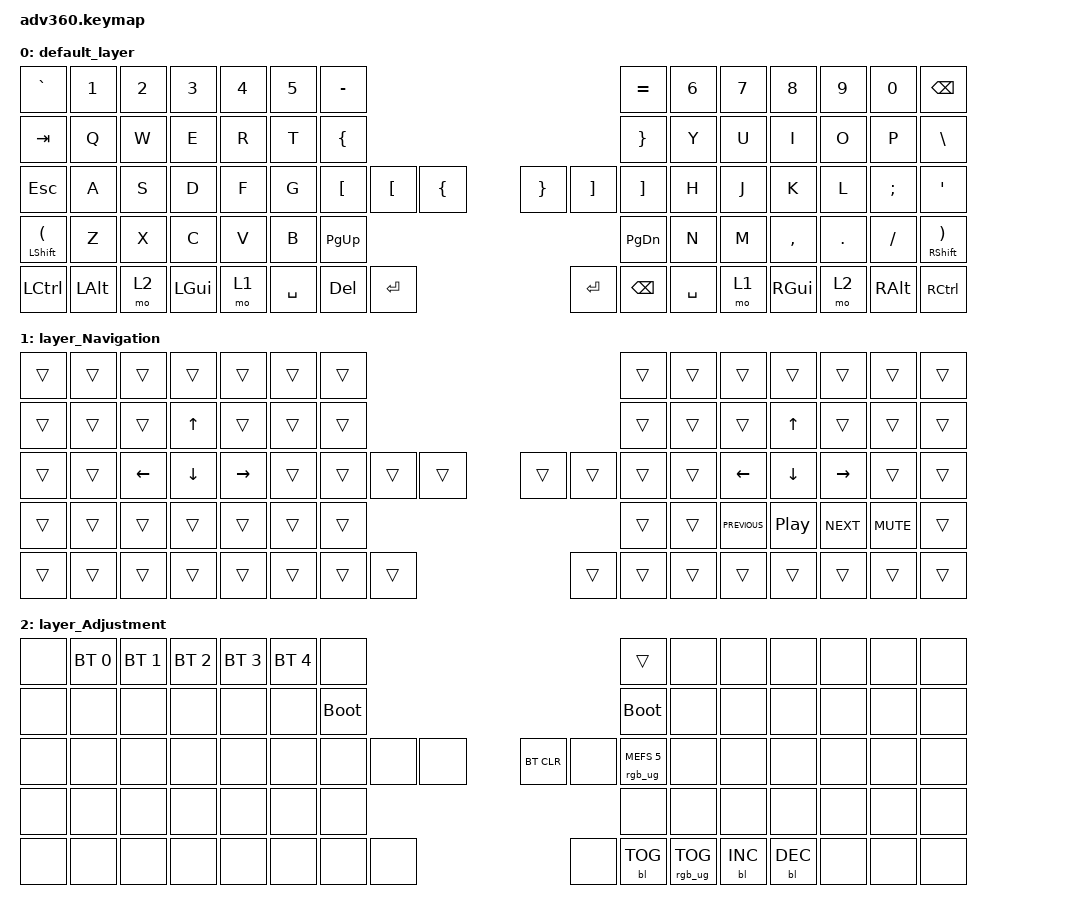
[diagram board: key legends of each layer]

/*
 * Copyright (c) 2020 The ZMK Contributors
 *
 * SPDX-License-Identifier: MIT
 */


/* THIS FILE WAS GENERATED!
 *
 * This file was generated automatically. You may or may not want to
 * edit it directly.
 */

#include <behaviors.dtsi>
#include <dt-bindings/zmk/keys.h>
#include <dt-bindings/zmk/bt.h>
#include <dt-bindings/zmk/rgb.h>
#include <dt-bindings/zmk/backlight.h>

/ {
  behaviors {
    #include "macros.dtsi"

    hm: homerow_mods {
        compatible = "zmk,behavior-hold-tap";
        label = "HOMEROW_MODS";
        #binding-cells = <2>;
        tapping-term-ms = <200>;
        quick_tap_ms = <175>;
        flavor = "tap-preferred";
        bindings = <&kp>, <&kp>;
    };
  };

    keymap {
        compatible = "zmk,keymap";


        default_layer {
            bindings = <
      &kp GRAVE        &kp N1  &kp N2        &kp N3  &kp N4  &kp N5                   &kp MINUS                                                                                                &kp EQUAL  &kp N6  &kp N7         &kp N8   &kp N9         &kp N0   &kp BACKSPACE
        &kp TAB         &kp Q   &kp W         &kp E   &kp R   &kp T              &kp LEFT_BRACE                                                                                          &kp RIGHT_BRACE   &kp Y   &kp U          &kp I    &kp O          &kp P        &kp BSLH
        &kp ESC         &kp A   &kp S         &kp D   &kp F   &kp G            &kp LEFT_BRACKET  &kp LEFT_BRACKET  &kp LEFT_BRACE                  &kp RIGHT_BRACE  &kp RIGHT_BRACKET  &kp RIGHT_BRACKET   &kp H   &kp J          &kp K    &kp L       &kp SEMI         &kp SQT
 &mt LSHFT LPAR         &kp Z   &kp X         &kp C   &kp V   &kp B                                                   &kp PAGE_UP                    &kp PAGE_DOWN                                         &kp N   &kp M      &kp COMMA  &kp DOT       &kp FSLH  &mt RSHFT RPAR
      &kp LCTRL  &kp LEFT_ALT   &mo 2  &kp LEFT_GUI   &mo 1                           &kp SPACE           &kp DEL       &kp ENTER                        &kp ENTER      &kp BACKSPACE          &kp SPACE           &mo 1  &kp RIGHT_GUI    &mo 2  &kp RIGHT_ALT       &kp RCTRL
            >;
        };

        layer_Navigation {
            bindings = <
 &trans  &trans    &trans    &trans     &trans  &trans            &trans                                                  &trans  &trans          &trans            &trans      &trans      &trans  &trans
 &trans  &trans    &trans    &kp UP     &trans  &trans            &trans                                                  &trans  &trans          &trans            &kp UP      &trans      &trans  &trans
 &trans  &trans  &kp LEFT  &kp DOWN  &kp RIGHT  &trans            &trans  &trans  &trans                  &trans  &trans  &trans  &trans        &kp LEFT          &kp DOWN   &kp RIGHT      &trans  &trans
 &trans  &trans    &trans    &trans     &trans  &trans                            &trans                  &trans                  &trans  &kp K_PREVIOUS  &kp C_PLAY_PAUSE  &kp C_NEXT  &kp C_MUTE  &trans
 &trans  &trans    &trans    &trans     &trans                    &trans  &trans  &trans                  &trans  &trans  &trans                  &trans            &trans      &trans      &trans  &trans
            >;
        };

        layer_Adjustment {
            bindings = <
  &none  &bt BT_SEL 0  &bt BT_SEL 1  &bt BT_SEL 2  &bt BT_SEL 3  &bt BT_SEL 4                  &none                                                                          &trans   &none       &none       &none   &none   &none   &none
  &none         &none         &none         &none         &none         &none            &bootloader                                                                     &bootloader   &none       &none       &none   &none   &none   &none
  &none         &none         &none         &none         &none         &none                  &none   &none   &none                  &bt BT_CLR       &none  &rgb_ug RGB_MEFS_CMD 5   &none       &none       &none   &none   &none   &none
  &none         &none         &none         &none         &none         &none                                  &none                       &none                                       &none       &none       &none   &none   &none   &none
  &none         &none         &none         &none         &none                                &none   &none   &none                       &none  &bl BL_TOG         &rgb_ug RGB_TOG          &bl BL_INC  &bl BL_DEC   &none   &none   &none
            >;
        };

    };
};
